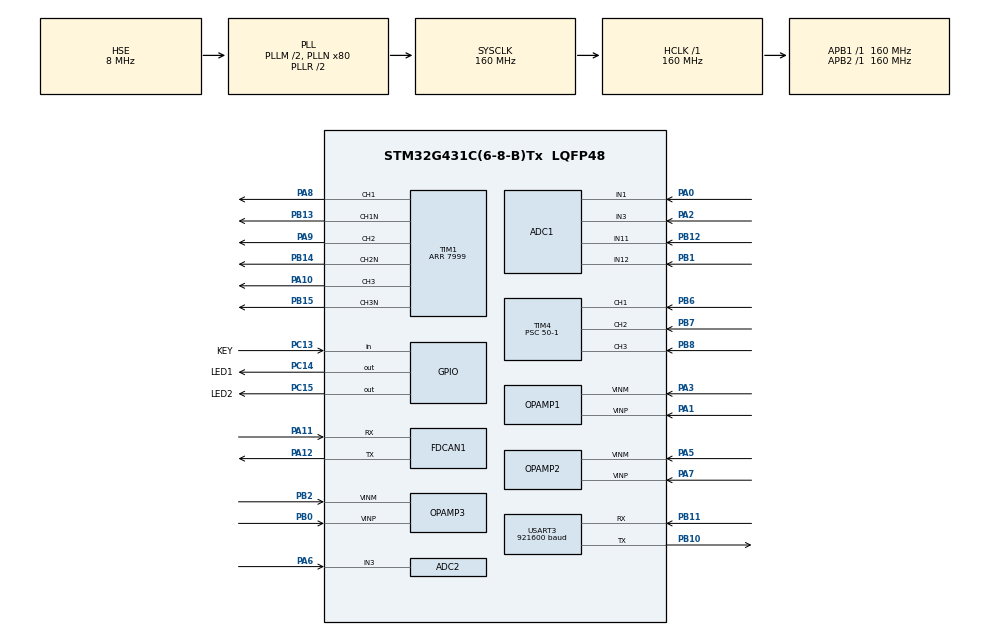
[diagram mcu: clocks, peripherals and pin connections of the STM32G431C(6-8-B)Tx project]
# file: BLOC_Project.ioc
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ADC1.Channel-5\#ChannelRegularConversion=ADC_CHANNEL_11
ADC1.EnableInjectedConversion=ENABLE
ADC1.EnableRegularConversion=ENABLE
ADC1.ExternalTrigInjecConv=ADC_EXTERNALTRIGINJEC_T1_CC4
ADC1.InjNumberOfConversion=3
ADC1.InjectedChannel-2\#ChannelInjectedConversion=ADC_CHANNEL_3
ADC1.InjectedChannel-3\#ChannelInjectedConversion=ADC_CHANNEL_12
ADC1.InjectedChannel-7\#ChannelInjectedConversion=ADC_CHANNEL_1
ADC1.InjectedOffsetNumber-2\#ChannelInjectedConversion=ADC_OFFSET_NONE
ADC1.InjectedOffsetNumber-3\#ChannelInjectedConversion=ADC_OFFSET_NONE
ADC1.InjectedOffsetNumber-7\#ChannelInjectedConversion=ADC_OFFSET_NONE
ADC1.InjectedRank-2\#ChannelInjectedConversion=1
ADC1.InjectedRank-3\#ChannelInjectedConversion=2
ADC1.InjectedRank-7\#ChannelInjectedConversion=3
ADC1.InjectedSamplingTime-2\#ChannelInjectedConversion=ADC_SAMPLETIME_6CYCLES_5
ADC1.InjectedSamplingTime-3\#ChannelInjectedConversion=ADC_SAMPLETIME_6CYCLES_5
ADC1.InjectedSamplingTime-7\#ChannelInjectedConversion=ADC_SAMPLETIME_6CYCLES_5
ADC1.NbrOfConversion=1
ADC1.NbrOfConversionFlag=1
ADC1.OffsetNumber-5\#ChannelRegularConversion=ADC_OFFSET_NONE
ADC1.Rank-5\#ChannelRegularConversion=1
ADC1.Rank3_Channel=ADC_CHANNEL_1
ADC1.SamplingTime-5\#ChannelRegularConversion=ADC_SAMPLETIME_6CYCLES_5
ADC1.master=1
ADC2.Channel-0\#ChannelRegularConversion=ADC_CHANNEL_3
ADC2.EnableInjectedConversion=ENABLE
ADC2.ExternalTrigInjecConv=ADC_EXTERNALTRIGINJEC_T1_CC4
ADC2.InjNumberOfConversion=1
ADC2.InjectedChannel-1\#ChannelInjectedConversion=ADC_CHANNEL_3
ADC2.InjectedOffsetNumber-1\#ChannelInjectedConversion=ADC_OFFSET_NONE
ADC2.InjectedRank-1\#ChannelInjectedConversion=1
ADC2.InjectedSamplingTime-1\#ChannelInjectedConversion=ADC_SAMPLETIME_6CYCLES_5
ADC2.NbrOfConversionFlag=1
ADC2.OffsetNumber-0\#ChannelRegularConversion=ADC_OFFSET_NONE
ADC2.Rank-0\#ChannelRegularConversion=1
ADC2.SamplingTime-0\#ChannelRegularConversion=ADC_SAMPLETIME_2CYCLES_5
Dma.Request0=USART3_TX
Dma.Request1=USART3_RX
Dma.USART3_RX.1.Direction=DMA_PERIPH_TO_MEMORY
Dma.USART3_RX.1.EventEnable=DISABLE
Dma.USART3_RX.1.Instance=DMA1_Channel2
Dma.USART3_RX.1.MemDataAlignment=DMA_MDATAALIGN_BYTE
Dma.USART3_RX.1.MemInc=DMA_MINC_ENABLE
Dma.USART3_RX.1.Mode=DMA_NORMAL
Dma.USART3_RX.1.PeriphDataAlignment=DMA_PDATAALIGN_BYTE
Dma.USART3_RX.1.PeriphInc=DMA_PINC_DISABLE
Dma.USART3_RX.1.Polarity=HAL_DMAMUX_REQ_GEN_RISING
Dma.USART3_RX.1.Priority=DMA_PRIORITY_LOW
Dma.USART3_RX.1.RequestNumber=1
Dma.USART3_RX.1.SignalID=NONE
Dma.USART3_RX.1.SyncEnable=DISABLE
Dma.USART3_RX.1.SyncPolarity=HAL_DMAMUX_SYNC_NO_EVENT
Dma.USART3_RX.1.SyncRequestNumber=1
Dma.USART3_RX.1.SyncSignalID=NONE
Dma.USART3_TX.0.Direction=DMA_MEMORY_TO_PERIPH
Dma.USART3_TX.0.EventEnable=DISABLE
Dma.USART3_TX.0.Instance=DMA1_Channel1
Dma.USART3_TX.0.MemDataAlignment=DMA_MDATAALIGN_BYTE
Dma.USART3_TX.0.MemInc=DMA_MINC_ENABLE
Dma.USART3_TX.0.Mode=DMA_NORMAL
Dma.USART3_TX.0.PeriphDataAlignment=DMA_PDATAALIGN_BYTE
Dma.USART3_TX.0.PeriphInc=DMA_PINC_DISABLE
Dma.USART3_TX.0.Polarity=HAL_DMAMUX_REQ_GEN_RISING
Dma.USART3_TX.0.Priority=DMA_PRIORITY_LOW
Dma.USART3_TX.0.RequestNumber=1
Dma.USART3_TX.0.SignalID=NONE
Dma.USART3_TX.0.SyncEnable=DISABLE
Dma.USART3_TX.0.SyncPolarity=HAL_DMAMUX_SYNC_NO_EVENT
Dma.USART3_TX.0.SyncRequestNumber=1
Dma.USART3_TX.0.SyncSignalID=NONE
FDCAN1.CalculateBaudRateNominal=500000
FDCAN1.CalculateTimeBitNominal=2000
FDCAN1.CalculateTimeQuantumNominal=125.0
FDCAN1.DataPrescaler=20
FDCAN1.DataSyncJumpWidth=1
FDCAN1.DataTimeSeg1=10
FDCAN1.DataTimeSeg2=5
FDCAN1.ExtFiltersNbr=1
FDCAN1.NominalPrescaler=20
FDCAN1.NominalSyncJumpWidth=1
FDCAN1.NominalTimeSeg1=10
FDCAN1.NominalTimeSeg2=5
FDCAN1.StdFiltersNbr=1
Mcu.Family=STM32G4
Mcu.Name=STM32G431C(6-8-B)Tx
Mcu.Package=LQFP48
NVIC.ADC1_2_IRQn=true\:0\:0\:true\:false\:true\:true\:true\:true
NVIC.DMA1_Channel1_IRQn=true\:0\:0\:false\:false\:true\:false\:true\:true
NVIC.DMA1_Channel2_IRQn=true\:0\:0\:false\:false\:true\:false\:true\:true
NVIC.FDCAN1_IT0_IRQn=true\:0\:0\:false\:false\:true\:true\:true\:true
NVIC.PriorityGroup=NVIC_PRIORITYGROUP_4
NVIC.TIM4_IRQn=true\:0\:0\:false\:false\:true\:true\:true\:true
NVIC.USART3_IRQn=true\:0\:0\:false\:false\:true\:true\:true\:true
PA0.Mode=IN1-Single-Ended
PA0.Signal=ADC1_IN1
PA1.Mode=Standalone
PA1.Signal=OPAMP1_VINP
PA10.Signal=S_TIM1_CH3
PA11.Mode=FDCAN_Activate
PA11.Signal=FDCAN1_RX
PA12.Mode=FDCAN_Activate
PA12.Signal=FDCAN1_TX
PA13.Mode=Serial_Wire
PA13.Signal=SYS_JTMS-SWDIO
PA14.Mode=Serial_Wire
PA14.Signal=SYS_JTCK-SWCLK
PA2.Signal=SharedAnalog_PA2
PA3.Mode=Standalone
PA3.Signal=OPAMP1_VINM
PA5.Mode=Standalone
PA5.Signal=OPAMP2_VINM
PA6.Signal=SharedAnalog_PA6
PA7.Mode=Standalone
PA7.Signal=OPAMP2_VINP
PA8.Signal=S_TIM1_CH1
PA9.Signal=S_TIM1_CH2
PB0.Mode=Standalone
PB0.Signal=OPAMP3_VINP
PB1.Signal=SharedAnalog_PB1
PB10.Mode=Asynchronous
PB10.Signal=USART3_TX
PB11.Mode=Asynchronous
PB11.Signal=USART3_RX
PB12.Mode=IN11-Single-Ended
PB12.Signal=ADC1_IN11
PB13.Mode=PWM Generation1 CH1 CH1N
PB13.Signal=TIM1_CH1N
PB14.Mode=PWM Generation2 CH2 CH2N
PB14.Signal=TIM1_CH2N
PB15.Mode=PWM Generation3 CH3 CH3N
PB15.Signal=TIM1_CH3N
PB2.Mode=Standalone
PB2.Signal=OPAMP3_VINM
PB6.Signal=S_TIM4_CH1
PB7.Signal=S_TIM4_CH2
PB8-BOOT0.Signal=S_TIM4_CH3
PC13.GPIO_Label=KEY
PC13.GPIO_PuPd=GPIO_PULLDOWN
PC13.Signal=GPIO_Input
PC14-OSC32_IN.GPIO_Label=LED1
PC14-OSC32_IN.Signal=GPIO_Output
PC15-OSC32_OUT.GPIO_Label=LED2
PC15-OSC32_OUT.Signal=GPIO_Output
PF0-OSC_IN.Mode=HSE-External-Oscillator
PF0-OSC_IN.Signal=RCC_OSC_IN
PF1-OSC_OUT.Mode=HSE-External-Oscillator
PF1-OSC_OUT.Signal=RCC_OSC_OUT
ProjectManager.HeapSize=0x200
ProjectManager.StackSize=0x400
ProjectManager.TargetToolchain=MDK-ARM V5.32
RCC.ADC12Freq_Value=160000000
RCC.AHBFreq_Value=160000000
RCC.APB1Freq_Value=160000000
RCC.APB1TimFreq_Value=160000000
RCC.APB2Freq_Value=160000000
RCC.APB2TimFreq_Value=160000000
RCC.CortexFreq_Value=160000000
RCC.EXTERNAL_CLOCK_VALUE=12288000
RCC.HCLKFreq_Value=160000000
RCC.HSE_VALUE=8000000
RCC.HSI48_VALUE=48000000
RCC.HSI_VALUE=16000000
RCC.LSE_VALUE=32768
RCC.PLLM=RCC_PLLM_DIV2
RCC.PLLN=80
RCC.PLLSourceVirtual=RCC_PLLSOURCE_HSE
RCC.SYSCLKFreq_VALUE=160000000
RCC.SYSCLKSource=RCC_SYSCLKSOURCE_PLLCLK
RCC.USBFreq_Value=160000000
RCC.VCOOutputFreq_Value=320000000
SH.S_TIM1_CH1.0=TIM1_CH1,PWM Generation1 CH1 CH1N
SH.S_TIM1_CH2.0=TIM1_CH2,PWM Generation2 CH2 CH2N
SH.S_TIM1_CH3.0=TIM1_CH3,PWM Generation3 CH3 CH3N
SH.S_TIM4_CH1.0=TIM4_CH1,Xored_Inputs_Hall_Sensor_Interface
SH.S_TIM4_CH2.0=TIM4_CH2,Xored_Inputs_Hall_Sensor_Interface
SH.S_TIM4_CH3.0=TIM4_CH3,Xored_Inputs_Hall_Sensor_Interface
SH.SharedAnalog_PA2.0=ADC1_IN3,IN3-Single-Ended
SH.SharedAnalog_PA2.1=OPAMP1_VOUT,Standalone
SH.SharedAnalog_PA6.0=ADC2_IN3,IN3-Single-Ended
SH.SharedAnalog_PA6.1=OPAMP2_VOUT,Standalone
SH.SharedAnalog_PB1.0=ADC1_IN12,IN12-Single-Ended
SH.SharedAnalog_PB1.1=OPAMP3_VOUT,Standalone
STMicroelectronics.X-CUBE-ALGOBUILD.1.5.0.LibraryCcDSPOoLibraryJjDSPOoLibrary=true
TIM1.AutoReloadPreload=TIM_AUTORELOAD_PRELOAD_ENABLE
TIM1.Channel-PWM\ Generation1\ CH1\ CH1N=TIM_CHANNEL_1
TIM1.Channel-PWM\ Generation2\ CH2\ CH2N=TIM_CHANNEL_2
TIM1.Channel-PWM\ Generation3\ CH3\ CH3N=TIM_CHANNEL_3
TIM1.Channel-PWM\ Generation4\ No\ Output=TIM_CHANNEL_4
TIM1.CounterMode=TIM_COUNTERMODE_CENTERALIGNED1
TIM1.DeadTime=120
TIM1.PeriodNoDither=7999
TIM1.PulseNoDither_4=7998
TIM1.TIM_MasterOutputTrigger=TIM_TRGO_OC4REF
TIM4.Commutation_Delay=5
TIM4.IC1Filter=10
TIM4.Prescaler=50-1
USART3.BaudRate=921600
USART3.VirtualMode-Asynchronous=VM_ASYNC
VP_STMicroelectronics.X-CUBE-ALGOBUILD_VS_DSPOoLibraryJjLibrary_1.5.0_1.5.0.Mode=DSPOoLibraryJjLibrary
VP_SYS_VS_DBSignals.Mode=DisableDeadBatterySignals
VP_TIM1_VS_ClockSourceINT.Mode=Internal
VP_TIM1_VS_no_output4.Mode=PWM Generation4 No Output
VP_TIM4_VS_ClockSourceINT.Mode=Internal
board=custom

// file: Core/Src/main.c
/* USER CODE BEGIN Header */
/**
  ******************************************************************************
  * @file           : main.c
  * @brief          : Main program body
  ******************************************************************************
  * @attention
  *
  * Copyright (c) 2026 STMicroelectronics.
  * All rights reserved.
  *
  * This software is licensed under terms that can be found in the LICENSE file
  * in the root directory of this software component.
  * If no LICENSE file comes with this software, it is provided AS-IS.
  *
  ******************************************************************************
  */
/* USER CODE END Header */
#include "main.h"
#include "adc.h"
#include "dma.h"
#include "fdcan.h"
#include "opamp.h"
#include "tim.h"
#include "usart.h"
#include "gpio.h"

/* USER CODE BEGIN Includes */
#include <string.h>
#include "multi_button.h"
#include "mybutton.h"
#include "fdcan.h"
#include "VFmode.h"
#include "FOC_Model.h"
#include "hall_driev.h"
#include "mycan.h"
#include "myuart.h"

extern HALL_Handle_t HALL_Handle;
/* USER CODE END Includes */

/* USER CODE BEGIN PV */
extern float CurrlValue[3];
extern uint8_t ADC_OffSet;
extern uint8_t Hal_State;
extern uint8_t open_can;

/* USER CODE END PV */

void SystemClock_Config(void);

int main(void)
{

  /* MCU Configuration--------------------------------------------------------*/

  /* Reset of all peripherals, Initializes the Flash interface and the Systick. */
  HAL_Init();

  /* Configure the system clock */
  SystemClock_Config();

  /* Initialize all configured peripherals */
  MX_GPIO_Init();
  MX_DMA_Init();
  MX_TIM1_Init();
  MX_USART3_UART_Init();
  MX_ADC1_Init();
  MX_ADC2_Init();
  MX_OPAMP1_Init();
  MX_OPAMP2_Init();
  MX_OPAMP3_Init();
  MX_FDCAN1_Init();
  MX_TIM4_Init();
  /* USER CODE BEGIN 2 */

	// 启动定时器的 CNT 计数
	HAL_TIM_Base_Start(&htim1);                              // TIM1 计数

	// 启动定时器对应通道的 PWM 输出
	HAL_TIM_PWM_Start(&htim1, TIM_CHANNEL_1);                // U+ 上桥
	HAL_TIM_PWM_Start(&htim1, TIM_CHANNEL_2);                // V+ 上桥
	HAL_TIM_PWM_Start(&htim1, TIM_CHANNEL_3);                // W+ 上桥

	// 启动定时器对应互补通道的 PWM 输出
	HAL_TIMEx_PWMN_Start(&htim1, TIM_CHANNEL_1);             // U- 下桥（互补）
	HAL_TIMEx_PWMN_Start(&htim1, TIM_CHANNEL_2);             // V- 下桥（互补）
	HAL_TIMEx_PWMN_Start(&htim1, TIM_CHANNEL_3);             // W- 下桥（互补）

	// 启动通道 4 的 PWM 输出用于触发 ADC 采样
	HAL_TIM_PWM_Start(&htim1, TIM_CHANNEL_4);                // 触发 ADC 采样

	/* 初始化 DMA 接收 */
	BSP_Vofa_Init();

	// ADC 初始化
	BSP_ADC_Init();

	// 按键初始化
	my_key_init();

	// FDCAN 初始化
	MX_FDCAN1_Init();
	// 配置滤波器：接收 ID 0x000~0x1FF 的所有报文
	Can_Message_Init();

	// VF 初始化
	VFmode_initialize();

	// 启动 TIM4 霍尔传感器捕获（中断模式）
	HAL_TIMEx_HallSensor_Start_IT(&htim4);

	// 读取霍尔初始电角度
	HALL_Init_Electrical_Angle();

	// 初始化 FOC 模型（有感+无感一体）
	FOC_Model_initialize();
	Hal_State = 1;              // 1=有感(Hall)，0=无感(Flux)
	rtU.Motor_OnOff = 1.0f;     // 电机使能

  /* USER CODE END 2 */

  /* Infinite loop */
  while (1)
  {

    /* USER CODE BEGIN 3 */

	if (open_can) {
    // 上位机模式：LED 闪烁（每 500ms 翻转）
	USART3_Anylze();
    static uint32_t last_led_tick = 0;
    if (HAL_GetTick() - last_led_tick >= 500) {
        HAL_GPIO_TogglePin(LED1_GPIO_Port, LED1_Pin);
        last_led_tick = HAL_GetTick();
    }
	} else {
		// 电位器模式：LED 常亮
		HAL_GPIO_WritePin(LED1_GPIO_Port, LED1_Pin, GPIO_PIN_SET);
		Potentiometer_SpeedSet();
	}

	FDCAN_Control();

	// 发送数据
	send_UVWV();

	// 每 100ms 发一次 CAN 消息
	static uint32_t last_can_tick = 0;
	if (HAL_GetTick() - last_can_tick >= 100) {
		last_can_tick = HAL_GetTick();
		HAL_FDCAN_AddMessageToTxFifoQ(&hfdcan1, &TxHeader, FDCan_RxData);
	}

  }
  /* USER CODE END 3 */
}

void SystemClock_Config(void)
{
  RCC_OscInitTypeDef RCC_OscInitStruct = {0};
  RCC_ClkInitTypeDef RCC_ClkInitStruct = {0};

  /** Configure the main internal regulator output voltage
  */
  HAL_PWREx_ControlVoltageScaling(PWR_REGULATOR_VOLTAGE_SCALE1_BOOST);

  /** Initializes the RCC Oscillators according to the specified parameters
  * in the RCC_OscInitTypeDef structure.
  */
  RCC_OscInitStruct.OscillatorType = RCC_OSCILLATORTYPE_HSE;
  RCC_OscInitStruct.HSEState = RCC_HSE_ON;
  RCC_OscInitStruct.PLL.PLLState = RCC_PLL_ON;
  RCC_OscInitStruct.PLL.PLLSource = RCC_PLLSOURCE_HSE;
  RCC_OscInitStruct.PLL.PLLM = RCC_PLLM_DIV2;
  RCC_OscInitStruct.PLL.PLLN = 80;
  RCC_OscInitStruct.PLL.PLLP = RCC_PLLP_DIV2;
  RCC_OscInitStruct.PLL.PLLQ = RCC_PLLQ_DIV2;
  RCC_OscInitStruct.PLL.PLLR = RCC_PLLR_DIV2;
  if (HAL_RCC_OscConfig(&RCC_OscInitStruct) != HAL_OK)
  {
    Error_Handler();
  }

  /** Initializes the CPU, AHB and APB buses clocks
  */
  RCC_ClkInitStruct.ClockType = RCC_CLOCKTYPE_HCLK|RCC_CLOCKTYPE_SYSCLK
                              |RCC_CLOCKTYPE_PCLK1|RCC_CLOCKTYPE_PCLK2;
  RCC_ClkInitStruct.SYSCLKSource = RCC_SYSCLKSOURCE_PLLCLK;
  RCC_ClkInitStruct.AHBCLKDivider = RCC_SYSCLK_DIV1;
  RCC_ClkInitStruct.APB1CLKDivider = RCC_HCLK_DIV1;
  RCC_ClkInitStruct.APB2CLKDivider = RCC_HCLK_DIV1;

  if (HAL_RCC_ClockConfig(&RCC_ClkInitStruct, FLASH_LATENCY_4) != HAL_OK)
  {
    Error_Handler();
  }
}

/* USER CODE BEGIN 4 */

void HAL_UART_TxCpltCallback(UART_HandleTypeDef *huart)
{
    if (huart->Instance == USART3) {
        /* DMA 发送完成，不需要额外操作，HAL 内部会自动清 BUSY */
    }
}

void send_UVWV(void)
{

	if (ADC_OffSet == 1)    // 偏移校准完成后才开始发
	{
		float load_data[6];
		//load_data[0] = CurrlValue[0];        // U 相电流
		load_data[0] = state;
		load_data[1] = CurrlValue[1];        // V 相电流
		load_data[2] = CurrlValue[2];        // W 相电流
		load_data[3] = (float)TIM1->CCR1;    // CCR1（W 相占空比）
		load_data[4] = (float)TIM1->CCR2;    // CCR2（V 相占空比）
		load_data[5] = (float)TIM1->CCR3;    // CCR3（U 相占空比）

		static uint8_t tempData[28];
		memcpy(tempData, (uint8_t *)&load_data, sizeof(load_data));
		tempData[24] = 0x00; tempData[25] = 0x00;
		tempData[26] = 0x80; tempData[27] = 0x7F;

		HAL_UART_Transmit(&huart3, tempData, 28, 1000);
		HAL_Delay(1);
	}
}

/* 电位器调速（PB12 / ADC1_IN11），10 次采样平均，范围 600~2300 RPM */
void Potentiometer_SpeedSet(void)
{
    static uint16_t vres[10] = {0};
    uint16_t Vres = 0;
    static uint8_t pot_cnt = 0;

    if(pot_cnt < 10)
    {
		uint32_t timeout = 10000;
		while ((ADC1->CR & ADC_CR_ADSTART) && --timeout);  // 等 ADC 空闲

		ADC1->CR |= ADC_CR_ADSTART;          // 启动规则组转换

		timeout = 10000;
		while (!(ADC1->ISR & ADC_ISR_EOC) && --timeout);  // 等 EOC

		if (timeout == 0) return;            // 超时了放弃本次
		vres[pot_cnt] = ADC1->DR;            // 读结果
        pot_cnt++;
    }
    else
    {
        pot_cnt = 0;
        for(uint8_t i = 0; i < 10; i++) Vres += vres[i];
        Vres /= 10;

        if(Vres > 2048)
            rtU.SpeedRef = (float)((int)((Vres - 2048) * 0.83) + 600);
        else
            rtU.SpeedRef = -(float)((int)((2048 - Vres) * 0.83) + 600);
    }
}

/* USER CODE END 4 */

void Error_Handler(void)
{
  __disable_irq();
  while (1)
  {
  }
}
